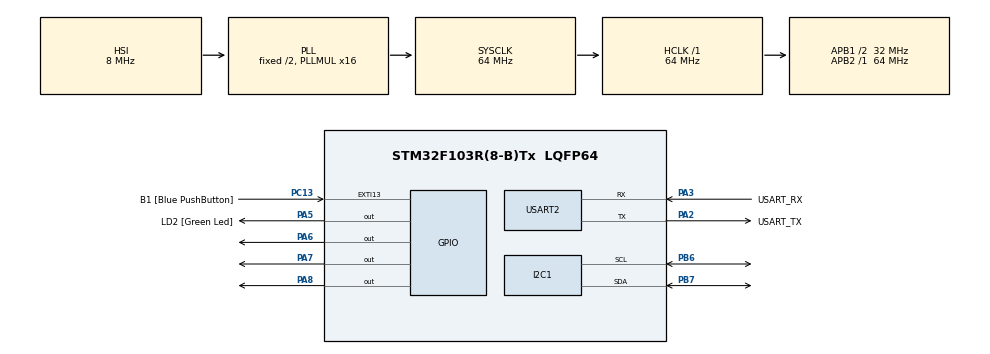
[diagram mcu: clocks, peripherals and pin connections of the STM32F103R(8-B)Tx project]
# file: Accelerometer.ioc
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Mcu.Family=STM32F1
PC15-OSC32_OUT.Mode=LSE-External-Oscillator
PA2.GPIO_PuPd=GPIO_NOPULL
PD1-OSC_OUT.Mode=HSE-External-Oscillator
PA14.GPIO_Label=TCK
PA3.GPIO_PuPd=GPIO_NOPULL
PA2.GPIO_Speed=GPIO_SPEED_FREQ_LOW
PC13-TAMPER-RTC.Signal=GPXTI13
PD0-OSC_IN.Signal=RCC_OSC_IN
RCC.APB1CLKDivider=RCC_HCLK_DIV2
PC14-OSC32_IN.Signal=RCC_OSC32_IN
PA3.GPIO_Speed=GPIO_SPEED_FREQ_LOW
RCC.SYSCLKSource=RCC_SYSCLKSOURCE_PLLCLK
ProjectManager.StackSize=0x400
PD1-OSC_OUT.Signal=RCC_OSC_OUT
PA3.Mode=Asynchronous
PA13.Signal=SYS_JTMS-SWDIO
ProjectManager.TargetToolchain=STM32CubeIDE
PA3.GPIO_Mode=GPIO_MODE_AF_PP
RCC.HCLKFreq_Value=64000000
RCC.APB2TimFreq_Value=64000000
PB6.Signal=I2C1_SCL
PB6.Mode=I2C
RCC.USBFreq_Value=64000000
PC15-OSC32_OUT.Signal=RCC_OSC32_OUT
RCC.AHBFreq_Value=64000000
PD0-OSC_IN.Mode=HSE-External-Oscillator
NVIC.EXTI15_10_IRQn=true\:0\:0\:false\:false\:true\:true\:true
PA5.Signal=GPIO_Output
board=NUCLEO-F103RB
RCC.RTCClockSelection=RCC_RTCCLKSOURCE_LSE
PC13-TAMPER-RTC.GPIO_Label=B1 [Blue PushButton]
RCC.PLLMUL=RCC_PLL_MUL16
RCC.APB2Freq_Value=64000000
PC14-OSC32_IN.Mode=LSE-External-Oscillator
PA5.GPIO_ModeDefaultOutputPP=GPIO_MODE_OUTPUT_PP
VP_TIM2_VS_ClockSourceINT.Mode=Internal
PA14.Mode=Serial_Wire
PA5.GPIO_PuPd=GPIO_NOPULL
NVIC.TIM2_IRQn=true\:0\:0\:false\:false\:true\:true\:true
PB7.Signal=I2C1_SDA
PA8.Signal=GPIO_Output
TIM2.Period=4500
PA13.Mode=Serial_Wire
Mcu.Name=STM32F103R(8-B)Tx
PA2.Signal=USART2_TX
PA13.GPIO_Label=TMS
PB3.Signal=SYS_JTDO-TRACESWO
RCC.SYSCLKFreq_VALUE=64000000
Mcu.Package=LQFP64
TIM2.Prescaler=100
PA6.Signal=GPIO_Output
PA5.GPIO_Label=LD2 [Green Led]
USART2.VirtualMode=VM_ASYNC
PC13-TAMPER-RTC.GPIO_PuPd=GPIO_NOPULL
PA2.GPIO_Label=USART_TX
PB7.Mode=I2C
PA14.Signal=SYS_JTCK-SWCLK
ProjectManager.HeapSize=0x200
PA5.GPIO_Speed=GPIO_SPEED_FREQ_LOW
NVIC.PriorityGroup=NVIC_PRIORITYGROUP_4
RCC.APB1TimFreq_Value=64000000
PA2.Mode=Asynchronous
TIM2.AutoReloadPreload=TIM_AUTORELOAD_PRELOAD_ENABLE
RCC.APB1Freq_Value=32000000
PA3.GPIO_Label=USART_RX
PA3.Signal=USART2_RX
PA7.Signal=GPIO_Output
PA2.GPIO_Mode=GPIO_MODE_AF_PP
PB3.GPIO_Label=SWO

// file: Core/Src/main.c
/* USER CODE BEGIN Header */
/**
  ******************************************************************************
  * @file           : main.c
  * @brief          : Main program body
  ******************************************************************************
  * @attention
  *
  * <h2><center>&copy; Copyright (c) 2022 STMicroelectronics.
  * All rights reserved.</center></h2>
  *
  * This software component is licensed by ST under BSD 3-Clause license,
  * the "License"; You may not use this file except in compliance with the
  * License. You may obtain a copy of the License at:
  *                        opensource.org/licenses/BSD-3-Clause
  *
  ******************************************************************************
  */
/* USER CODE END Header */
#include "main.h"
#include "i2c.h"
#include "tim.h"
#include "usart.h"
#include "gpio.h"

/* USER CODE BEGIN Includes */
#include "LIS3DH.h"
#include "motor.h"
/* USER CODE END Includes */

/* USER CODE BEGIN PV */
void uprintf(char *str)
{
	HAL_UART_Transmit(&huart2, (uint8_t *)str, strlen(str), 100);
}
/* USER CODE END PV */

void SystemClock_Config(void);
/* USER CODE BEGIN PFP */
void measurementAndConversion();
void rotationLogic();
/* USER CODE END PFP */

/* USER CODE BEGIN 0 */
char buffer[32] = {0};
volatile uint8_t X, Y, Z;
volatile float YG = 0.0;
volatile float XG = 0.0;
volatile uint8_t gpio_id = 0;
uint8_t counter = 0;
float measuremntsX[10] = {0};
/* USER CODE END 0 */

int main(void)
{

  /* MCU Configuration--------------------------------------------------------*/

  /* Reset of all peripherals, Initializes the Flash interface and the Systick. */
  HAL_Init();

  /* Configure the system clock */
  SystemClock_Config();

  /* Initialize all configured peripherals */
  MX_GPIO_Init();
  MX_USART2_UART_Init();
  MX_I2C1_Init();
  MX_TIM2_Init();
  /* USER CODE BEGIN 2 */

  uint8_t ok = setup();			//setup accelerometer

  HAL_TIM_Base_Start_IT(&htim2);
  /* USER CODE END 2 */

  /* Infinite loop */
  while (1)
  {

    /* USER CODE BEGIN 3 */
	  //__HAL_TIM_GET_COUNTER(&htim2);

  }
  /* USER CODE END 3 */
}

void SystemClock_Config(void)
{
  RCC_OscInitTypeDef RCC_OscInitStruct = {0};
  RCC_ClkInitTypeDef RCC_ClkInitStruct = {0};

  /** Initializes the RCC Oscillators according to the specified parameters
  * in the RCC_OscInitTypeDef structure.
  */
  RCC_OscInitStruct.OscillatorType = RCC_OSCILLATORTYPE_HSI;
  RCC_OscInitStruct.HSIState = RCC_HSI_ON;
  RCC_OscInitStruct.HSICalibrationValue = RCC_HSICALIBRATION_DEFAULT;
  RCC_OscInitStruct.PLL.PLLState = RCC_PLL_ON;
  RCC_OscInitStruct.PLL.PLLSource = RCC_PLLSOURCE_HSI_DIV2;
  RCC_OscInitStruct.PLL.PLLMUL = RCC_PLL_MUL16;
  if (HAL_RCC_OscConfig(&RCC_OscInitStruct) != HAL_OK)
  {
    Error_Handler();
  }
  /** Initializes the CPU, AHB and APB buses clocks
  */
  RCC_ClkInitStruct.ClockType = RCC_CLOCKTYPE_HCLK|RCC_CLOCKTYPE_SYSCLK
                              |RCC_CLOCKTYPE_PCLK1|RCC_CLOCKTYPE_PCLK2;
  RCC_ClkInitStruct.SYSCLKSource = RCC_SYSCLKSOURCE_PLLCLK;
  RCC_ClkInitStruct.AHBCLKDivider = RCC_SYSCLK_DIV1;
  RCC_ClkInitStruct.APB1CLKDivider = RCC_HCLK_DIV2;
  RCC_ClkInitStruct.APB2CLKDivider = RCC_HCLK_DIV1;

  if (HAL_RCC_ClockConfig(&RCC_ClkInitStruct, FLASH_LATENCY_2) != HAL_OK)
  {
    Error_Handler();
  }
}

/* USER CODE BEGIN 4 */
void HAL_TIM_PeriodElapsedCallback(TIM_HandleTypeDef *htim)
{
	if (htim->Instance == TIM2)
	{
		if(counter > 4)
		{
			measurementAndConversion();
			sprintf(buffer, "X = %f\n\r", XG); // @suppress("Float formatting support")
			uprintf(buffer);
			counter = 0;
		}
		rotationLogic();
		counter++;
	}
}

void measurementAndConversion()
{
	get_Acc(&X, &Y, &Z);
	XG = convertToG(X);
	YG = convertToG(Y);
	float sum = 0;
	for(int8_t i = 8; i >= 0; i--)
	{
		measuremntsX[i+1] = measuremntsX[i];
		sum += measuremntsX[i+1];
	}
	measuremntsX[0] = XG;
	XG = (sum + measuremntsX[0])/10;		//mean of 10 last values
}

void rotationLogic()
{
	if(XG <= -5 && YG > 0)
	{
		gpio_id = turn_clockwise(gpio_id);
	}
	else if(XG <= -5 && YG < 0)
	{
		gpio_id = turn_anticlockwise(gpio_id);
	}
	else if(XG >= 5 && YG > 0)
	{
		gpio_id = turn_anticlockwise(gpio_id);
	}
	else if(XG >= 5 && YG < 0)
	{
		gpio_id = turn_clockwise(gpio_id);
	}
}

/* USER CODE END 4 */

void Error_Handler(void)
{
  __disable_irq();
  while (1)
  {
  }
}

/************************ (C) COPYRIGHT STMicroelectronics *****END OF FILE****/
